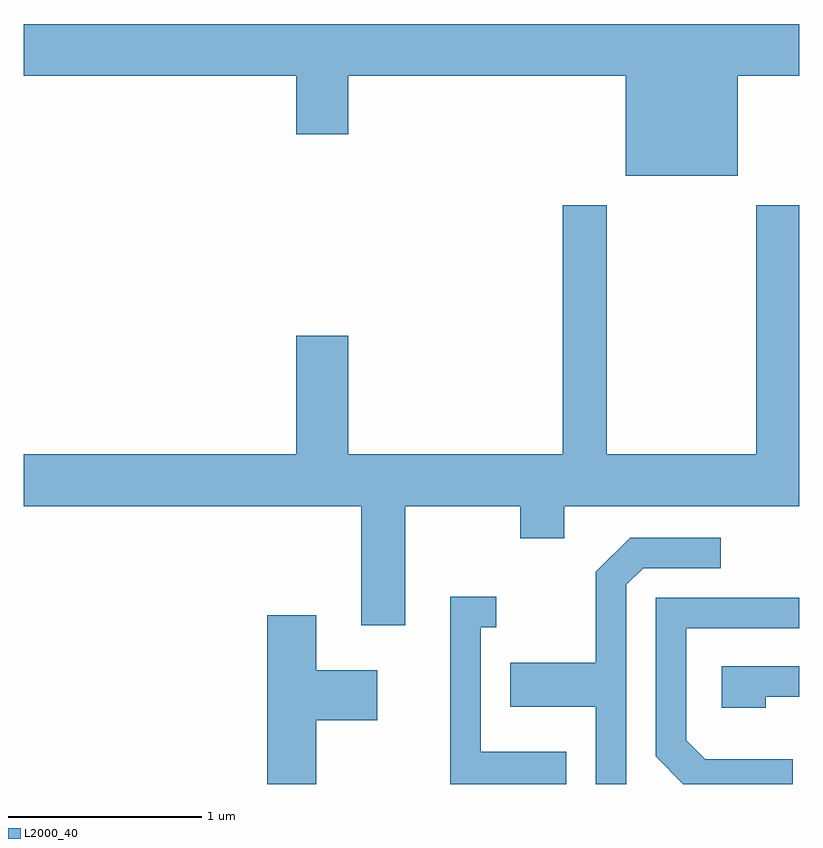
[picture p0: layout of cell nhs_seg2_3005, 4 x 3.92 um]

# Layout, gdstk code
import gdstk
lib = gdstk.Library(unit=1e-6, precision=1e-09)
def P(c, l, *ps):  # polygons
    for p in ps: c.add(gdstk.Polygon(p, *l))
L2000_40 = (2000, 40)

nhs_seg2_3005 = lib.new_cell('nhs_seg2_3005')
P(nhs_seg2_3005, L2000_40, [(277.294,1019.456),(277.611,1019.456),(277.611,1019.724),(273.611,1019.724),(273.611,1019.456),(275.016,1019.456),(275.016,1019.156),(275.284,1019.156),(275.284,1019.456),(276.716,1019.456),(276.716,1018.941),(277.294,1018.941)],
  [(275.579,1017.236),(276.171,1017.236),(276.171,1017.071),(276.399,1017.071),(276.399,1017.236),(277.611,1017.236),(277.611,1018.789),(277.391,1018.789),(277.391,1017.504),(276.619,1017.504),(276.619,1018.789),(276.391,1018.789),(276.391,1017.504),(275.284,1017.504),(275.284,1018.114),(275.016,1018.114),(275.016,1017.504),(273.611,1017.504),(273.611,1017.236),(275.351,1017.236),(275.351,1016.621),(275.579,1016.621)],
  [(276.719,1016.829),(276.807,1016.916),(277.208,1016.916),(277.208,1017.074),(276.739,1017.074),(276.561,1016.897),(276.561,1016.429),(276.121,1016.429),(276.121,1016.201),(276.561,1016.201),(276.561,1015.802),(276.719,1015.802)],
  [(276.409,1015.969),(275.969,1015.969),(275.969,1016.611),(276.048,1016.611),(276.048,1016.769),(275.811,1016.769),(275.811,1015.802),(276.409,1015.802)],
  [(277.579,1015.929),(277.127,1015.929),(277.029,1016.027),(277.029,1016.606),(277.611,1016.606),(277.611,1016.764),(276.871,1016.764),(276.871,1015.944),(277.013,1015.802),(277.579,1015.802)],
  [(275.119,1016.131),(275.434,1016.131),(275.434,1016.389),(275.119,1016.389),(275.119,1016.674),(274.866,1016.674),(274.866,1015.802),(275.119,1015.802)],
  [(277.439,1016.251),(277.611,1016.251),(277.611,1016.409),(277.211,1016.409),(277.211,1016.196),(277.439,1016.196)])

lib.write_gds('nhs_seg2_3005.gds')
